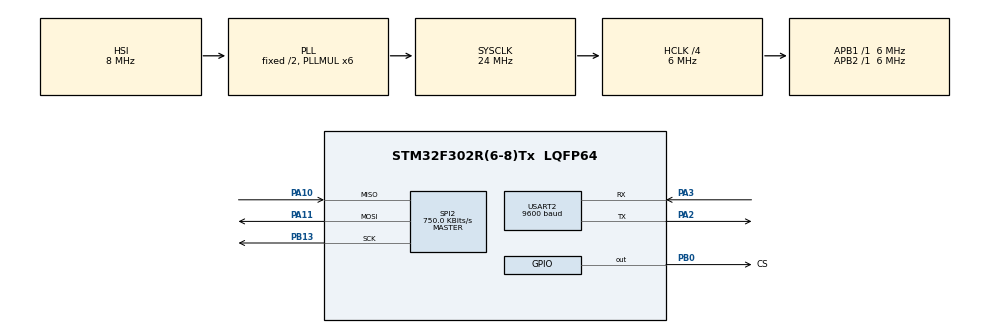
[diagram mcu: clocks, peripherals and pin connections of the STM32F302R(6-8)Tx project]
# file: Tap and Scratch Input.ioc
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Mcu.Family=STM32F3
Mcu.Name=STM32F302R(6-8)Tx
Mcu.Package=LQFP64
NVIC.PriorityGroup=NVIC_PRIORITYGROUP_4
PA10.Mode=Full_Duplex_Master
PA10.Signal=SPI2_MISO
PA11.Mode=Full_Duplex_Master
PA11.Signal=SPI2_MOSI
PA2.Mode=Asynchronous
PA2.Signal=USART2_TX
PA3.Mode=Asynchronous
PA3.Signal=USART2_RX
PB0.GPIO_Label=CS
PB0.GPIO_PuPd=GPIO_NOPULL
PB0.PinState=GPIO_PIN_RESET
PB0.Signal=GPIO_Output
PB13.Mode=Full_Duplex_Master
PB13.Signal=SPI2_SCK
ProjectManager.HeapSize=0x200
ProjectManager.StackSize=0x400
ProjectManager.TargetToolchain=STM32CubeIDE
RCC.AHBCLKDivider=RCC_SYSCLK_DIV4
RCC.AHBFreq_Value=6000000
RCC.APB1Freq_Value=6000000
RCC.APB1TimFreq_Value=6000000
RCC.APB2Freq_Value=6000000
RCC.APB2TimFreq_Value=6000000
RCC.CortexFreq_Value=6000000
RCC.HCLKFreq_Value=6000000
RCC.HSE_VALUE=8000000
RCC.HSI_VALUE=8000000
RCC.LSE_VALUE=32768
RCC.PLLMUL=RCC_PLL_MUL6
RCC.SYSCLKFreq_VALUE=24000000
RCC.SYSCLKSourceVirtual=RCC_SYSCLKSOURCE_PLLCLK
RCC.USBFreq_Value=24000000
SPI2.BaudRatePrescaler=SPI_BAUDRATEPRESCALER_8
SPI2.CalculateBaudRate=750.0 KBits/s
SPI2.DataSize=SPI_DATASIZE_8BIT
SPI2.Direction=SPI_DIRECTION_2LINES
SPI2.Mode=SPI_MODE_MASTER
SPI2.NSSPMode=SPI_NSS_PULSE_DISABLE
SPI2.VirtualType=VM_MASTER
USART2.BaudRate=9600
USART2.VirtualMode-Asynchronous=VM_ASYNC
board=custom

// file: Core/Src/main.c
/* USER CODE BEGIN Header */
/**
  ******************************************************************************
  * @file           : main.c
  * @brief          : Main program body
  ******************************************************************************
  * @attention
  *
  * Copyright (c) 2026 STMicroelectronics.
  * All rights reserved.
  *
  * This software is licensed under terms that can be found in the LICENSE file
  * in the root directory of this software component.
  * If no LICENSE file comes with this software, it is provided AS-IS.
  *
  ******************************************************************************
  */
/* USER CODE END Header */
#include "main.h"

/* USER CODE BEGIN Includes */
#include "stdio.h"
#include "stdbool.h"
/* USER CODE END Includes */

SPI_HandleTypeDef hspi2;

UART_HandleTypeDef huart2;

/* USER CODE BEGIN PV */
uint8_t ctrl_x  = 0b11011001;
uint8_t ctrl_y  = 0b10011001;
uint8_t ctrl_z1 = 0b10111001;
uint8_t ctrl_z2 = 0b11001001;

uint8_t start_x  = 0;
uint8_t end_x  = 0;
uint8_t start_y  = 0;
uint8_t end_y  = 0;
uint8_t x_val[2]  = { 0 };
uint8_t y_val[2]  = { 0 };
uint8_t z1 = 0;
uint8_t z2 = 0;

bool start_pos_taken = false;

char message[50];
/* USER CODE END PV */

void SystemClock_Config(void);
static void MX_GPIO_Init(void);
static void MX_SPI2_Init(void);
static void MX_USART2_UART_Init(void);

int main(void)
{

  /* MCU Configuration--------------------------------------------------------*/

  /* Reset of all peripherals, Initializes the Flash interface and the Systick. */
  HAL_Init();

  /* Configure the system clock */
  SystemClock_Config();

  /* Initialize all configured peripherals */
  MX_GPIO_Init();
  MX_SPI2_Init();
  MX_USART2_UART_Init();

  /* Infinite loop */
  /* USER CODE BEGIN WHILE */
  while (1)
  {
	  HAL_GPIO_WritePin (CS_GPIO_Port, CS_Pin, GPIO_PIN_RESET);

//	  if (!start_pos_taken) {
//	  HAL_SPI_TransmitReceive (&hspi2, &ctrl_x, &start_x, sizeof (ctrl_x) + sizeof (start_x), 100);
//	  HAL_SPI_TransmitReceive (&hspi2, &ctrl_y, &start_y, sizeof (ctrl_y) + sizeof (start_y), 100);

		  HAL_SPI_Transmit (&hspi2, &ctrl_x, sizeof (ctrl_x), 100);
		  HAL_SPI_Receive (&hspi2, x_val, 2, 100);
		  HAL_GPIO_WritePin (CS_GPIO_Port, CS_Pin, GPIO_PIN_SET);
		  HAL_GPIO_WritePin (CS_GPIO_Port, CS_Pin, GPIO_PIN_RESET);
		  HAL_SPI_Transmit (&hspi2, &ctrl_y, sizeof (ctrl_y), 100);
		  HAL_SPI_Receive (&hspi2, y_val, 2, 100);
		  HAL_GPIO_WritePin (CS_GPIO_Port, CS_Pin, GPIO_PIN_SET);

//		  HAL_SPI_Transmit (&hspi2, &ctrl_x, sizeof (ctrl_x), 100);
//		  HAL_SPI_Receive (&hspi2, &start_x, sizeof (start_x), 100);
//		  HAL_SPI_Transmit (&hspi2, &ctrl_y, sizeof (ctrl_y), 100);
//		  HAL_SPI_Receive (&hspi2, &start_y, sizeof (start_y), 100);

//	  } else {
//		  HAL_SPI_Transmit (&hspi2, &ctrl_x, sizeof (ctrl_x), 100);
//		  HAL_SPI_Receive (&hspi2, &end_x, sizeof (end_x), 100);
//
//		  HAL_SPI_Transmit (&hspi2, &ctrl_y, sizeof (ctrl_y), 100);
//		  HAL_SPI_Receive (&hspi2, &end_y, sizeof (end_y), 100);
//	  }
//
//	  HAL_SPI_Transmit (&hspi2, &ctrl_z2, sizeof (ctrl_z2), 100);
//	  HAL_SPI_Receive (&hspi2, &z2, sizeof (z2), 100);
////	  if (z2 < 124) {
//
//	  HAL_SPI_Transmit (&hspi2, &ctrl_z1, sizeof (ctrl_z1), 100);
//	  HAL_SPI_Receive (&hspi2, &z1, sizeof (z1), 100);
//	  if (z1 > 0 && z2 < 124) {
//		  if (!start_pos_taken) {
//			  start_pos_taken = true;
			  sprintf (message, "x : %.4d | y : %.4d\r\n", ((uint16_t) x_val[0] << 4) | ((uint16_t) x_val[1] >> 4), ((uint16_t) y_val[0] << 4) | ((uint16_t) y_val[1] >> 4)); // 12 bit conversion
//			  sprintf (message, "START x : %.3d | y : %.3d\r\n", start_x, start_y);
			  HAL_UART_Transmit (&huart2, (uint8_t*) message, 50, 100);
//		  }
//	  } else  {
//		  if (start_pos_taken) {
//			  start_pos_taken = false;
//			  sprintf (message, "END   x : %.3d | y : %.3d\r\n", end_x, end_y);
//			  HAL_UART_Transmit (&huart2, (uint8_t*) message, 50, 100);
//		  }
//	  }

//	  sprintf (message, "x : %.3d | y : %.3d | z1 : %.3d | z2 : %.3d\r\n", receive_x, receive_y, receive_z1, receive_z2);
//	  HAL_UART_Transmit (&huart2, (uint8_t *) message, 50, 100);
    /* USER CODE END WHILE */

  }
}

void SystemClock_Config(void)
{
  RCC_OscInitTypeDef RCC_OscInitStruct = {0};
  RCC_ClkInitTypeDef RCC_ClkInitStruct = {0};

  /** Initializes the RCC Oscillators according to the specified parameters
  * in the RCC_OscInitTypeDef structure.
  */
  RCC_OscInitStruct.OscillatorType = RCC_OSCILLATORTYPE_HSI;
  RCC_OscInitStruct.HSIState = RCC_HSI_ON;
  RCC_OscInitStruct.HSICalibrationValue = RCC_HSICALIBRATION_DEFAULT;
  RCC_OscInitStruct.PLL.PLLState = RCC_PLL_ON;
  RCC_OscInitStruct.PLL.PLLSource = RCC_PLLSOURCE_HSI;
  RCC_OscInitStruct.PLL.PLLMUL = RCC_PLL_MUL6;
  if (HAL_RCC_OscConfig(&RCC_OscInitStruct) != HAL_OK)
  {
    Error_Handler();
  }

  /** Initializes the CPU, AHB and APB buses clocks
  */
  RCC_ClkInitStruct.ClockType = RCC_CLOCKTYPE_HCLK|RCC_CLOCKTYPE_SYSCLK
                              |RCC_CLOCKTYPE_PCLK1|RCC_CLOCKTYPE_PCLK2;
  RCC_ClkInitStruct.SYSCLKSource = RCC_SYSCLKSOURCE_PLLCLK;
  RCC_ClkInitStruct.AHBCLKDivider = RCC_SYSCLK_DIV4;
  RCC_ClkInitStruct.APB1CLKDivider = RCC_HCLK_DIV1;
  RCC_ClkInitStruct.APB2CLKDivider = RCC_HCLK_DIV1;

  if (HAL_RCC_ClockConfig(&RCC_ClkInitStruct, FLASH_LATENCY_0) != HAL_OK)
  {
    Error_Handler();
  }
}

static void MX_SPI2_Init(void)
{

  /* SPI2 parameter configuration*/
  hspi2.Instance = SPI2;
  hspi2.Init.Mode = SPI_MODE_MASTER;
  hspi2.Init.Direction = SPI_DIRECTION_2LINES;
  hspi2.Init.DataSize = SPI_DATASIZE_8BIT;
  hspi2.Init.CLKPolarity = SPI_POLARITY_LOW;
  hspi2.Init.CLKPhase = SPI_PHASE_1EDGE;
  hspi2.Init.NSS = SPI_NSS_SOFT;
  hspi2.Init.BaudRatePrescaler = SPI_BAUDRATEPRESCALER_8;
  hspi2.Init.FirstBit = SPI_FIRSTBIT_MSB;
  hspi2.Init.TIMode = SPI_TIMODE_DISABLE;
  hspi2.Init.CRCCalculation = SPI_CRCCALCULATION_DISABLE;
  hspi2.Init.CRCPolynomial = 7;
  hspi2.Init.CRCLength = SPI_CRC_LENGTH_DATASIZE;
  hspi2.Init.NSSPMode = SPI_NSS_PULSE_DISABLE;
  if (HAL_SPI_Init(&hspi2) != HAL_OK)
  {
    Error_Handler();
  }

}

static void MX_USART2_UART_Init(void)
{

  huart2.Instance = USART2;
  huart2.Init.BaudRate = 9600;
  huart2.Init.WordLength = UART_WORDLENGTH_8B;
  huart2.Init.StopBits = UART_STOPBITS_1;
  huart2.Init.Parity = UART_PARITY_NONE;
  huart2.Init.Mode = UART_MODE_TX_RX;
  huart2.Init.HwFlowCtl = UART_HWCONTROL_NONE;
  huart2.Init.OverSampling = UART_OVERSAMPLING_16;
  huart2.Init.OneBitSampling = UART_ONE_BIT_SAMPLE_DISABLE;
  huart2.AdvancedInit.AdvFeatureInit = UART_ADVFEATURE_NO_INIT;
  if (HAL_UART_Init(&huart2) != HAL_OK)
  {
    Error_Handler();
  }

}

static void MX_GPIO_Init(void)
{
  GPIO_InitTypeDef GPIO_InitStruct = {0};

  /* GPIO Ports Clock Enable */
  __HAL_RCC_GPIOA_CLK_ENABLE();
  __HAL_RCC_GPIOB_CLK_ENABLE();

  /*Configure GPIO pin Output Level */
  HAL_GPIO_WritePin(CS_GPIO_Port, CS_Pin, GPIO_PIN_RESET);

  /*Configure GPIO pin : CS_Pin */
  GPIO_InitStruct.Pin = CS_Pin;
  GPIO_InitStruct.Mode = GPIO_MODE_OUTPUT_PP;
  GPIO_InitStruct.Pull = GPIO_NOPULL;
  GPIO_InitStruct.Speed = GPIO_SPEED_FREQ_LOW;
  HAL_GPIO_Init(CS_GPIO_Port, &GPIO_InitStruct);

}

void Error_Handler(void)
{
  __disable_irq();
  while (1)
  {
  }
}
